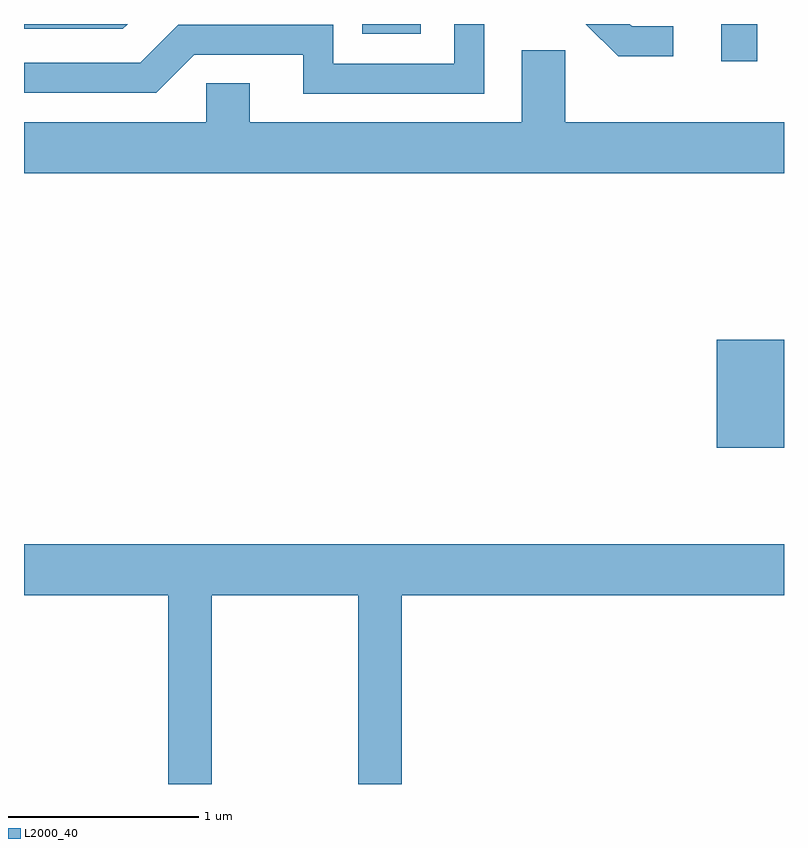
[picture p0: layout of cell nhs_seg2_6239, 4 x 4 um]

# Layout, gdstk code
import gdstk
lib = gdstk.Library(unit=1e-6, precision=1e-09)
def R(c, l, rs):  # rectangles x0, y0, x1, y1
    for r in rs: c.add(gdstk.rectangle(r[:2], r[2:], *l))
def P(c, l, *ps):  # polygons
    for p in ps: c.add(gdstk.Polygon(p, *l))
L2000_40 = (2000, 40)

nhs_seg2_6239 = lib.new_cell('nhs_seg2_6239')
R(nhs_seg2_6239, L2000_40, [(373.256,1013.571,373.611,1014.139), (373.281,1015.606,373.469,1015.802), (371.391,1015.751,371.699,1015.802)])
P(nhs_seg2_6239, L2000_40, [(373.028,1015.789),(372.812,1015.789),(372.799,1015.802),(372.568,1015.802),(372.739,1015.631),(373.028,1015.631)],
  [(372.034,1015.802),(371.876,1015.802),(371.876,1015.594),(371.239,1015.594),(371.239,1015.799),(370.424,1015.799),(370.224,1015.599),(369.611,1015.599),(369.611,1015.441),(370.307,1015.441),(370.507,1015.641),(371.081,1015.641),(371.081,1015.436),(372.034,1015.436)],
  [(370.158,1015.802),(369.611,1015.802),(369.611,1015.776),(370.132,1015.776)],
  [(373.611,1015.284),(372.459,1015.284),(372.459,1015.664),(372.231,1015.664),(372.231,1015.284),(370.799,1015.284),(370.799,1015.489),(370.571,1015.489),(370.571,1015.284),(369.611,1015.284),(369.611,1015.016),(373.611,1015.016)],
  [(370.599,1012.796),(371.371,1012.796),(371.371,1011.802),(371.599,1011.802),(371.599,1012.796),(373.611,1012.796),(373.611,1013.064),(369.611,1013.064),(369.611,1012.796),(370.371,1012.796),(370.371,1011.802),(370.599,1011.802)])

lib.write_gds('nhs_seg2_6239.gds')
